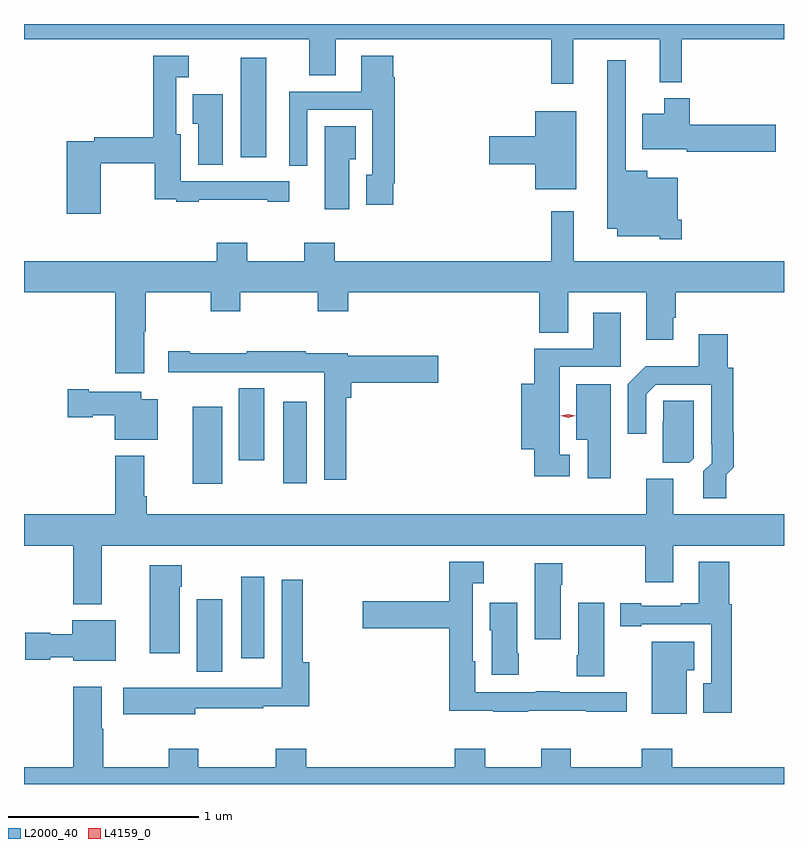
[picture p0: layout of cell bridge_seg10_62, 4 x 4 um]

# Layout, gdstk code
import gdstk
lib = gdstk.Library(unit=1e-6, precision=1e-09)
def R(c, l, rs):  # rectangles x0, y0, x1, y1
    for r in rs: c.add(gdstk.rectangle(r[:2], r[2:], *l))
def P(c, l, *ps):  # polygons
    for p in ps: c.add(gdstk.Polygon(p, *l))
L2000_40 = (2000, 40)
L4159_0 = (4159, 0)

bridge_seg10_62 = lib.new_cell('bridge_seg10_62')
R(bridge_seg10_62, L2000_40, [(819.806,1298.32,819.94,1298.701), (820.04,1298.391,820.162,1298.821), (819.785,1299.309,819.94,1299.715), (820.262,1299.312,820.384,1299.742), (820.028,1299.432,820.162,1299.812), (820.037,1301.028,820.171,1301.551)])
P(bridge_seg10_62, L2000_40, [(821.789,1301.648),(822.242,1301.648),(822.242,1301.423),(822.359,1301.423),(822.359,1301.648),(822.897,1301.648),(822.897,1301.729),(818.897,1301.729),(818.897,1301.648),(820.397,1301.648),(820.397,1301.458),(820.537,1301.458),(820.537,1301.648),(821.671,1301.648),(821.671,1301.415),(821.789,1301.415)],
  [(820.84,1300.891),(820.847,1300.891),(820.847,1301.45),(820.841,1301.45),(820.841,1301.563),(820.673,1301.563),(820.673,1301.373),(820.293,1301.373),(820.293,1300.983),(820.389,1300.983),(820.389,1301.277),(820.731,1301.277),(820.731,1300.935),(820.697,1300.935),(820.697,1300.779),(820.84,1300.779)],
  [(819.3,1300.996),(819.586,1300.996),(819.586,1300.806),(819.697,1300.806),(819.697,1300.794),(819.817,1300.794),(819.817,1300.804),(820.181,1300.804),(820.181,1300.794),(820.293,1300.794),(820.293,1300.902),(819.721,1300.902),(819.721,1301.148),(819.697,1301.148),(819.697,1301.45),(819.763,1301.45),(819.763,1301.563),(819.576,1301.563),(819.576,1301.132),(819.268,1301.132),(819.268,1301.112),(819.122,1301.112),(819.122,1300.731),(819.3,1300.731)],
  [(822.359,1300.699),(822.337,1300.699),(822.337,1300.921),(822.178,1300.921),(822.178,1300.957),(822.063,1300.957),(822.063,1301.539),(821.966,1301.539),(821.966,1300.652),(822.02,1300.652),(822.02,1300.613),(822.243,1300.613),(822.243,1300.595),(822.359,1300.595)],
  [(819.943,1301.359),(819.785,1301.359),(819.785,1301.203),(819.815,1301.203),(819.815,1300.987),(819.943,1300.987)],
  [(822.853,1301.199),(822.401,1301.199),(822.401,1301.338),(822.266,1301.338),(822.266,1301.257),(822.152,1301.257),(822.152,1301.069),(822.384,1301.069),(822.384,1301.057),(822.853,1301.057)],
  [(821.803,1301.269),(821.588,1301.269),(821.588,1301.138),(821.346,1301.138),(821.346,1300.991),(821.588,1300.991),(821.588,1300.859),(821.803,1300.859)],
  [(820.609,1301.018),(820.642,1301.018),(820.642,1301.192),(820.481,1301.192),(820.481,1300.755),(820.609,1300.755)],
  [(819.529,1300.112),(819.537,1300.112),(819.537,1300.316),(819.88,1300.316),(819.88,1300.217),(820.035,1300.217),(820.035,1300.316),(820.444,1300.316),(820.444,1300.217),(820.604,1300.217),(820.604,1300.316),(821.609,1300.316),(821.609,1300.105),(821.761,1300.105),(821.761,1300.316),(822.173,1300.316),(822.173,1300.068),(822.313,1300.068),(822.313,1300.183),(822.326,1300.183),(822.326,1300.316),(822.897,1300.316),(822.897,1300.48),(821.79,1300.48),(821.79,1300.744),(821.671,1300.744),(821.671,1300.48),(820.532,1300.48),(820.532,1300.579),(820.372,1300.579),(820.372,1300.48),(820.071,1300.48),(820.071,1300.579),(819.911,1300.579),(819.911,1300.48),(818.897,1300.48),(818.897,1300.316),(819.377,1300.316),(819.377,1299.891),(819.529,1299.891)],
  [(821.77,1299.461),(821.716,1299.461),(821.716,1299.924),(822.037,1299.924),(822.037,1300.21),(821.894,1300.21),(821.894,1300.02),(821.582,1300.02),(821.582,1299.835),(821.513,1299.835),(821.513,1299.491),(821.582,1299.491),(821.582,1299.348),(821.77,1299.348)],
  [(822.593,1299.357),(822.632,1299.396),(822.632,1299.578),(822.629,1299.578),(822.629,1299.921),(822.602,1299.921),(822.602,1300.096),(822.449,1300.096),(822.449,1299.928),(822.169,1299.928),(822.075,1299.834),(822.075,1299.573),(822.171,1299.573),(822.171,1299.78),(822.222,1299.831),(822.513,1299.831),(822.513,1299.517),(822.516,1299.517),(822.516,1299.417),(822.473,1299.374),(822.473,1299.234),(822.593,1299.234)],
  [(820.592,1299.761),(820.619,1299.761),(820.619,1299.842),(821.077,1299.842),(821.077,1299.984),(820.602,1299.984),(820.602,1299.996),(820.379,1299.996),(820.379,1300.006),(820.069,1300.006),(820.069,1299.996),(819.769,1299.996),(819.769,1300.006),(819.657,1300.006),(819.657,1299.896),(819.932,1299.896),(819.932,1299.897),(820.266,1299.897),(820.266,1299.896),(820.476,1299.896),(820.476,1299.33),(820.592,1299.33)],
  [(821.986,1299.832),(821.804,1299.832),(821.804,1299.542),(821.864,1299.542),(821.864,1299.339),(821.986,1299.339)],
  [(819.601,1299.754),(819.514,1299.754),(819.514,1299.793),(819.238,1299.793),(819.238,1299.806),(819.126,1299.806),(819.126,1299.659),(819.258,1299.659),(819.258,1299.671),(819.374,1299.671),(819.374,1299.542),(819.601,1299.542)],
  [(822.423,1299.444),(822.423,1299.746),(822.261,1299.746),(822.261,1299.635),(822.26,1299.635),(822.26,1299.421),(822.399,1299.421)],
  [(819.307,1298.984),(822.166,1298.984),(822.166,1298.79),(822.313,1298.79),(822.313,1298.984),(822.897,1298.984),(822.897,1299.148),(822.313,1299.148),(822.313,1299.336),(822.173,1299.336),(822.173,1299.148),(819.542,1299.148),(819.542,1299.244),(819.529,1299.244),(819.529,1299.457),(819.377,1299.457),(819.377,1299.148),(818.897,1299.148),(818.897,1298.984),(819.155,1298.984),(819.155,1298.675),(819.307,1298.675)],
  [(821.551,1298.114),(821.857,1298.114),(821.857,1298.11),(822.07,1298.11),(822.07,1298.211),(821.717,1298.211),(821.717,1298.216),(821.59,1298.216),(821.59,1298.211),(821.272,1298.211),(821.272,1298.376),(821.26,1298.376),(821.26,1298.786),(821.317,1298.786),(821.317,1298.899),(821.135,1298.899),(821.135,1298.691),(820.68,1298.691),(820.68,1298.549),(821.135,1298.549),(821.135,1298.114),(821.368,1298.114),(821.368,1298.11),(821.551,1298.11)],
  [(822.622,1298.674),(822.61,1298.674),(822.61,1298.899),(822.449,1298.899),(822.449,1298.68),(822.353,1298.68),(822.353,1298.667),(822.145,1298.667),(822.145,1298.68),(822.035,1298.68),(822.035,1298.559),(822.145,1298.559),(822.145,1298.571),(822.513,1298.571),(822.513,1298.259),(822.473,1298.259),(822.473,1298.103),(822.622,1298.103)],
  [(821.722,1298.777),(821.73,1298.777),(821.73,1298.89),(821.585,1298.89),(821.585,1298.49),(821.722,1298.49)],
  [(819.718,1298.768),(819.726,1298.768),(819.726,1298.881),(819.56,1298.881),(819.56,1298.418),(819.718,1298.418)],
  [(819.799,1298.127),(820.157,1298.127),(820.157,1298.137),(820.397,1298.137),(820.397,1298.371),(820.363,1298.371),(820.363,1298.803),(820.254,1298.803),(820.254,1298.236),(820.044,1298.236),(820.044,1298.235),(819.695,1298.235),(819.695,1298.236),(819.419,1298.236),(819.419,1298.096),(819.799,1298.096)],
  [(821.95,1298.683),(821.813,1298.683),(821.813,1298.407),(821.806,1298.407),(821.806,1298.296),(821.95,1298.296)],
  [(821.502,1298.416),(821.494,1298.416),(821.494,1298.683),(821.348,1298.683),(821.348,1298.538),(821.36,1298.538),(821.36,1298.304),(821.502,1298.304)],
  [(819.379,1298.59),(819.152,1298.59),(819.152,1298.518),(819.036,1298.518),(819.036,1298.526),(818.904,1298.526),(818.904,1298.384),(819.036,1298.384),(819.036,1298.396),(819.156,1298.396),(819.156,1298.378),(819.379,1298.378)],
  [(822.385,1298.327),(822.424,1298.327),(822.424,1298.479),(822.2,1298.479),(822.2,1298.099),(822.385,1298.099)],
  [(821.62,1297.915),(821.62,1297.816),(821.325,1297.816),(821.325,1297.915),(821.165,1297.915),(821.165,1297.816),(820.382,1297.816),(820.382,1297.915),(820.222,1297.915),(820.222,1297.816),(819.813,1297.816),(819.813,1297.915),(819.658,1297.915),(819.658,1297.816),(819.315,1297.816),(819.315,1298.021),(819.307,1298.021),(819.307,1298.242),(819.155,1298.242),(819.155,1297.816),(818.897,1297.816),(818.897,1297.729),(822.897,1297.729),(822.897,1297.816),(822.308,1297.816),(822.308,1297.915),(822.148,1297.915),(822.148,1297.816),(821.775,1297.816),(821.775,1297.915)])
P(bridge_seg10_62, L4159_0, [(821.761,1299.657),(821.723,1299.667),(821.723,1299.667),(821.723,1299.668),(821.761,1299.676),(821.799,1299.666),(821.799,1299.666),(821.799,1299.666)])

lib.write_gds('bridge_seg10_62.gds')
